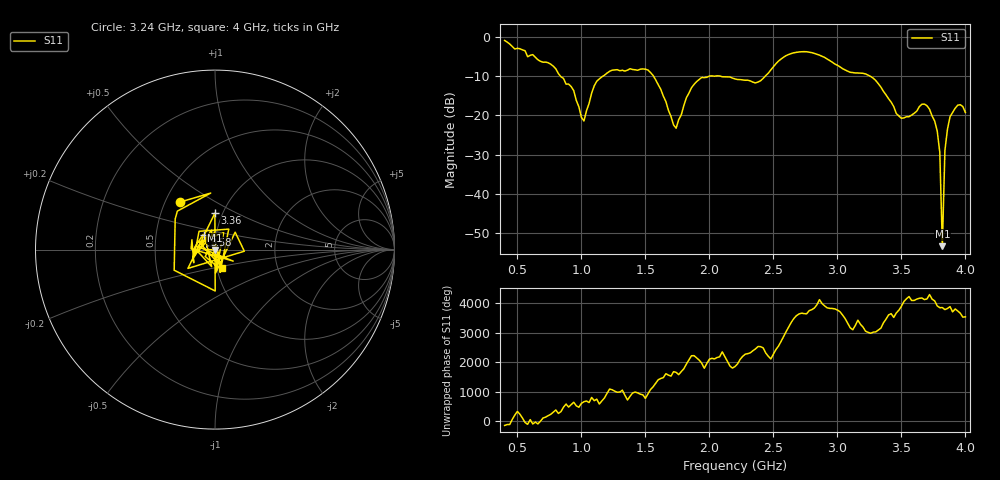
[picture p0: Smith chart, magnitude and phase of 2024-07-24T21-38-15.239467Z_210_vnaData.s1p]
!Created with skrf (http://scikit-rf.org).
# Hz S RI R 50.0
!freq ReS11 ImS11
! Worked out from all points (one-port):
!   181 points, 400 MHz to 4 GHz, reference 50 ohm
!   lowest |S11| = -53.5 dB at 3.82 GHz (marker M1), VSWR 1.00, Z = 49.9 - j0.195 ohm
!   |S11| at or under -10 dB: 837.8 MHz to 1.165 GHz (327.7 MHz wide, 32.7 % of centre); 1.564 GHz to 1.994 GHz (429.7 MHz wide, 24.1 % of centre); 3.259 GHz to end of sweep (the widest 3 of 4)
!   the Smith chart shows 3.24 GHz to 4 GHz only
!   S11 on the Smith chart (normalised r, x): 3.24 GHz: 0.60, +0.36; 3.36 GHz: 0.92, +0.39; 3.58 GHz: 0.88, +0.14; 4 GHz: 1.06, -0.22
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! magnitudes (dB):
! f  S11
! 400 MHz  -0.8
! 860 MHz  -10.5
! 940 MHz  -13.6
! 1.02 GHz  -21.4
! 1.12 GHz  -11.2
! 1.3 GHz  -8.6
! 1.52 GHz  -8.4
! 1.72 GHz  -22.4
! 1.76 GHz  -21.1
! 1.86 GHz  -12.9
! 1.94 GHz  -10.3
! 2.2 GHz  -10.6
! 2.38 GHz  -11.4
! 2.66 GHz  -3.9
! 3.1 GHz  -9.0
! 3.24 GHz  -9.7
! 3.36 GHz  -13.8
! 3.48 GHz  -20.1
! 3.56 GHz  -20.3
! 3.58 GHz  -19.9
! 3.68 GHz  -17.1
! 3.78 GHz  -24.0
! 3.8 GHz  -29.4
! 3.82 GHz  -53.5
! 3.84 GHz  -28.9
! 3.86 GHz  -23.5
! 3.94 GHz  -17.4
! 4 GHz  -19.2
